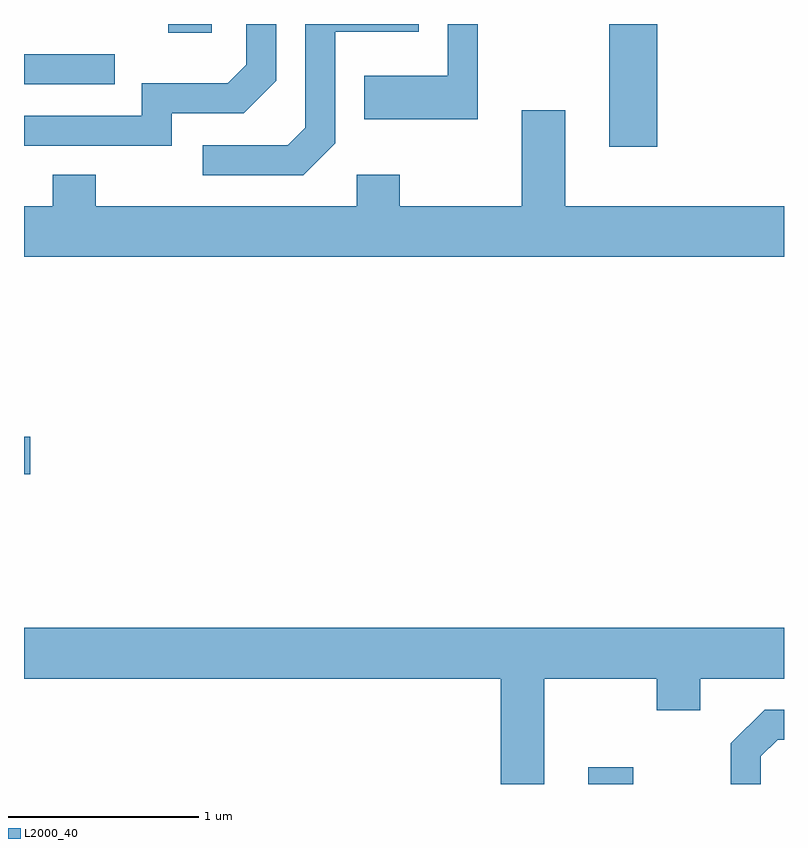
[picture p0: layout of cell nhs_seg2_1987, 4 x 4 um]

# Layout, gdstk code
import gdstk
lib = gdstk.Library(unit=1e-6, precision=1e-09)
def R(c, l, rs):  # rectangles x0, y0, x1, y1
    for r in rs: c.add(gdstk.rectangle(r[:2], r[2:], *l))
def P(c, l, *ps):  # polygons
    for p in ps: c.add(gdstk.Polygon(p, *l))
L2000_40 = (2000, 40)

nhs_seg2_1987 = lib.new_cell('nhs_seg2_1987')
R(nhs_seg2_1987, L2000_40, [(246.581,1007.802,246.818,1007.889), (243.611,1009.431,243.644,1009.629), (246.691,1011.156,246.944,1011.802), (243.611,1011.486,244.088,1011.644), (244.371,1011.756,244.599,1011.802)])
P(nhs_seg2_1987, L2000_40, [(245.999,1011.802),(245.841,1011.802),(245.841,1011.529),(245.401,1011.529),(245.401,1011.301),(245.999,1011.301)],
  [(245.249,1011.174),(245.249,1011.761),(245.689,1011.761),(245.689,1011.802),(245.091,1011.802),(245.091,1011.257),(244.999,1011.164),(244.553,1011.164),(244.553,1011.006),(245.082,1011.006)],
  [(244.389,1011.331),(244.767,1011.331),(244.939,1011.504),(244.939,1011.802),(244.781,1011.802),(244.781,1011.587),(244.684,1011.489),(244.231,1011.489),(244.231,1011.319),(243.611,1011.319),(243.611,1011.161),(244.389,1011.161)],
  [(243.761,1011.009),(243.761,1010.844),(243.611,1010.844),(243.611,1010.576),(247.611,1010.576),(247.611,1010.844),(246.459,1010.844),(246.459,1011.349),(246.231,1011.349),(246.231,1010.844),(245.589,1010.844),(245.589,1011.009),(245.361,1011.009),(245.361,1010.844),(243.989,1010.844),(243.989,1011.009)],
  [(246.349,1008.356),(246.941,1008.356),(246.941,1008.191),(247.169,1008.191),(247.169,1008.356),(247.611,1008.356),(247.611,1008.624),(243.611,1008.624),(243.611,1008.356),(246.121,1008.356),(246.121,1007.802),(246.349,1007.802)],
  [(247.489,1007.949),(247.577,1008.036),(247.611,1008.036),(247.611,1008.194),(247.509,1008.194),(247.331,1008.017),(247.331,1007.802),(247.489,1007.802)])

lib.write_gds('nhs_seg2_1987.gds')
